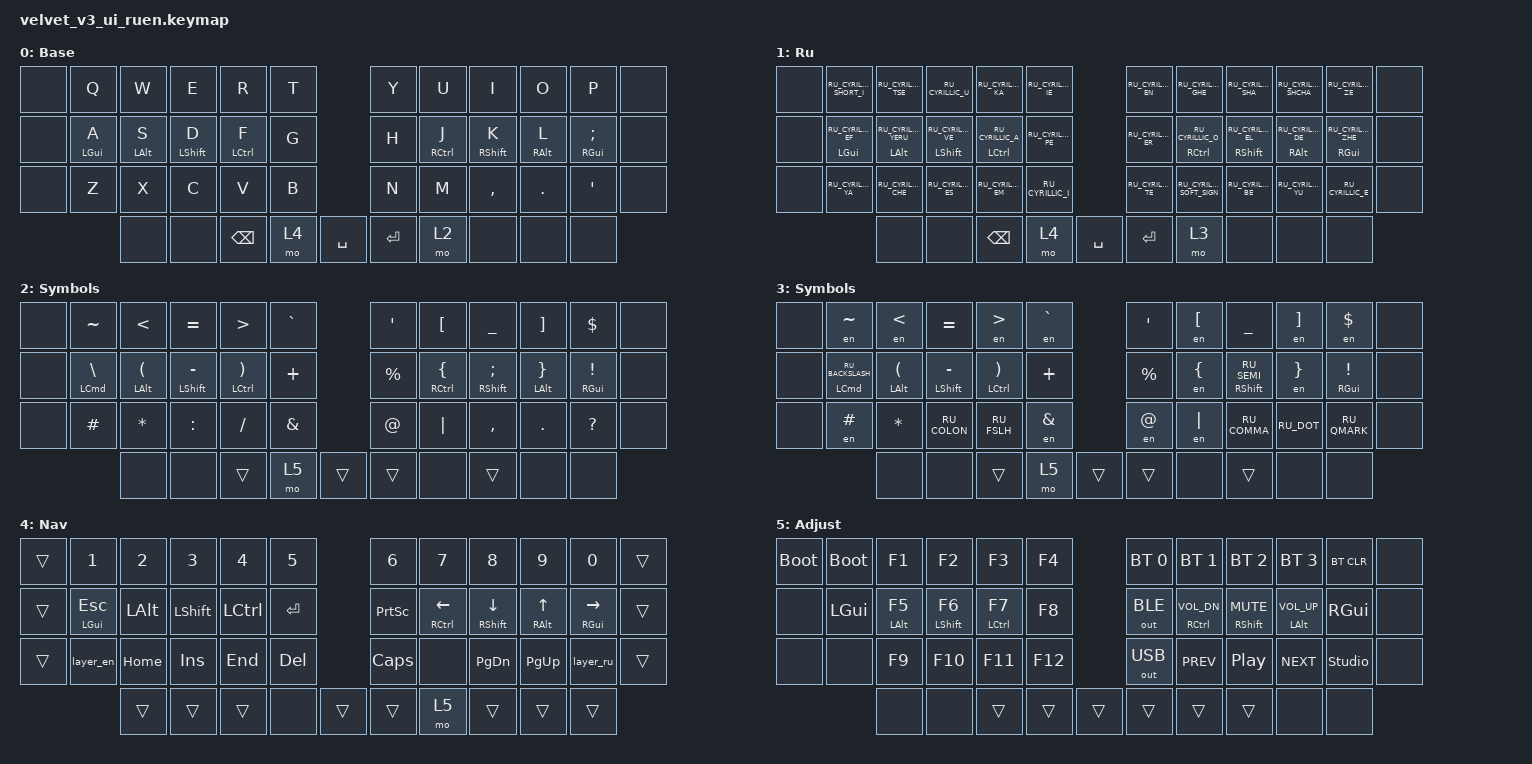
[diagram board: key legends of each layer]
#include "keys_ru.h"
#include <dt-bindings/zmk/input_transform.h>
#include <input/processors.dtsi>
#include <zephyr/dt-bindings/input/input-event-codes.h>
#include <behaviors.dtsi>
#include <dt-bindings/zmk/bt.h>
#include <dt-bindings/zmk/keys.h>
#include <dt-bindings/zmk/outputs.h>

&mt {
    quick-tap-ms = <200>;
    require-prior-idle-ms = <125>;
    flavor = "tap-preferred";
};

/ {
    behaviors {
        hml: home_row_mod_left {
            compatible = "zmk,behavior-hold-tap";
            bindings = <&kp>, <&kp>;

            #binding-cells = <2>;
            tapping-term-ms = <280>;
            quick-tap-ms = <175>;
            require-prior-idle-ms = <125>;
            flavor = "balanced";
            hold-trigger-key-positions = <6 7 8 10 9 22 20 21 18 19 30 31 32 34 33 41 42 43 44 45>;
            hold-trigger-on-release;
        };

        hmr: home_row_mod_right {
            compatible = "zmk,behavior-hold-tap";
            bindings = <&kp>, <&kp>;

            #binding-cells = <2>;
            tapping-term-ms = <280>;
            quick-tap-ms = <175>;
            require-prior-idle-ms = <150>;
            flavor = "balanced";
            hold-trigger-on-release;
            hold-trigger-key-positions = <1 13 25 36 37 26 14 2 3 15 27 28 16 4 5 17 29 38 39 40>;
        };

        zip_auto_mouse: zip_auto_mouse {
            compatible = "zmk,input-processor-temp-layer";
            #input-processor-cells = <2>;
            require-prior-idle-ms = <0>;
            excluded-positions = <>;
        };
    };

    combos {
        compatible = "zmk,combos";

        cmben {
            bindings = <&layer_en>;
            key-positions = <3 4>;
            layers = <1>;
        };

        cmbru {
            bindings = <&layer_ru>;
            key-positions = <3 4>;
            layers = <0>;
        };

        hrdsgn {
            bindings = <&kp RU_CYRILLIC_HARD_SIGN>;
            key-positions = <8 9>;
        };

        kha {
            bindings = <&kp RU_CYRILLIC_HA>;
            key-positions = <7 8>;
        };

        tab {
            bindings = <&kp TAB>;
            key-positions = <31 32>;
        };

        TABL {
            bindings = <&kp TAB>;
            key-positions = <27 28>;
        };
    };

    macros {
        to_ru: to_ru {
            compatible = "zmk,behavior-macro";
            #binding-cells = <0>;
            bindings = <&kp LS(LC(N2))>;
            label = "TO_RU";
            wait-ms = <0>;
            tap-ms = <30>;
        };

        to_en: to_en {
            compatible = "zmk,behavior-macro";
            #binding-cells = <0>;
            bindings = <&kp LS(LC(N1))>;
            label = "TO_EN";
            wait-ms = <0>;
            tap-ms = <30>;
        };

        layer_en: layer_en {
            compatible = "zmk,behavior-macro";
            #binding-cells = <0>;
            bindings = <&to 0 &to_en>;
            label = "LAYER_EN";
            wait-ms = <0>;
            tap-ms = <30>;
        };

        layer_ru: layer_ru {
            compatible = "zmk,behavior-macro";
            #binding-cells = <0>;
            bindings = <&to 1 &to_ru>;
            label = "LAYER_RU";
            tap-ms = <30>;
            wait-ms = <0>;
        };

        en: en {
            compatible = "zmk,behavior-macro-one-param";
            #binding-cells = <1>;
            bindings =
                <&to_en>,
                <&macro_press>,
                <&macro_param_1to1 &kp MACRO_PLACEHOLDER>,
                <&macro_pause_for_release>,
                <&macro_release>,
                <&macro_param_1to1 &kp MACRO_PLACEHOLDER>,
                <&macro_tap>,
                <&to_ru>;

            label = "EN";
            wait-ms = <0>;
            tap-ms = <30>;
        };
    };

    keymap {
        compatible = "zmk,keymap";

        en {
            bindings = <
&none  &kp Q        &kp W            &kp E         &kp R          &kp T                        &kp Y  &kp U         &kp I               &kp O             &kp P                &none
&none  &hml LGUI A  &hml LEFT_ALT S  &hml LSHFT D  &hml LCTRL F   &kp G                        &kp H  &hmr RCTRL J  &hmr RIGHT_SHIFT K  &hmr RIGHT_ALT L  &hmr RIGHT_GUI SEMI  &none
&none  &kp Z        &kp X            &kp C         &kp V          &kp B                        &kp N  &kp M         &kp COMMA           &kp DOT           &kp SQT              &none
                    &none            &none         &kp BACKSPACE  &mo 4  &kp SPACE    &kp RET  &mo 2  &none         &none               &none
            >;

            display-name = "Base";
        };

        ru {
            display-name = "Ru";
            bindings = <
&none  &kp RU_CYRILLIC_SHORT_I       &kp RU_CYRILLIC_TSE             &kp RU_CYRILLIC_U               &kp RU_CYRILLIC_KA        &kp RU_CYRILLIC_IE                        &kp RU_CYRILLIC_EN  &kp RU_CYRILLIC_GHE        &kp RU_CYRILLIC_SHA              &kp RU_CYRILLIC_SHCHA          &kp RU_CYRILLIC_ZE              &none
&none  &hml LEFT_GUI RU_CYRILLIC_EF  &hml LEFT_ALT RU_CYRILLIC_YERU  &hml LEFT_SHIFT RU_CYRILLIC_VE  &hml LCTRL RU_CYRILLIC_A  &kp RU_CYRILLIC_PE                        &kp RU_CYRILLIC_ER  &hmr RCTRL RU_CYRILLIC_O   &hmr RIGHT_SHIFT RU_CYRILLIC_EL  &hmr RIGHT_ALT RU_CYRILLIC_DE  &hmr RIGHT_GUI RU_CYRILLIC_ZHE  &none
&none  &kp RU_CYRILLIC_YA            &kp RU_CYRILLIC_CHE             &kp RU_CYRILLIC_ES              &kp RU_CYRILLIC_EM        &kp RU_CYRILLIC_I                         &kp RU_CYRILLIC_TE  &kp RU_CYRILLIC_SOFT_SIGN  &kp RU_CYRILLIC_BE               &kp RU_CYRILLIC_YU             &kp RU_CYRILLIC_E               &none
                                     &none                           &none                           &kp BACKSPACE             &mo 4               &kp SPACE    &kp RET  &mo 3               &none                      &none                            &none
            >;
        };

        sym_en {
            bindings = <
&none  &kp TILDE       &kp LT              &kp EQUAL         &kp GT           &kp GRAVE                    &kp APOSTROPHE  &kp LBKT         &kp UNDER              &kp RBKT            &kp DLLR        &none
&none  &hml LCMD BSLH  &hml LEFT_ALT LPAR  &hml LSHFT MINUS  &hml LCTRL RPAR  &kp PLUS                     &kp PRCNT       &hmr RCTRL LBRC  &hmr RIGHT_SHIFT SEMI  &hmr LEFT_ALT RBRC  &hmr RGUI EXCL  &none
&none  &kp HASH        &kp STAR            &kp COLON         &kp FSLH         &kp AMPS                     &kp AT          &kp PIPE         &kp COMMA              &kp DOT             &kp QMARK       &none
                       &none               &none             &trans           &mo 5      &trans    &trans  &none           &trans           &none                  &none
            >;

            display-name = "Symbols";
        };

        sym_ru {
            display-name = "Symbols";
            bindings = <
&none  &en TILDE               &en LT              &kp EQUAL         &en GT           &en GRAVE                    &kp APOSTROPHE  &en LBKT        &kp UNDER                 &en RBKT    &en DLLR        &none
&none  &hml LCMD RU_BACKSLASH  &hml LEFT_ALT LPAR  &hml LSHFT MINUS  &hml LCTRL RPAR  &kp PLUS                     &kp PRCNT       &en LEFT_BRACE  &hmr RIGHT_SHIFT RU_SEMI  &en RBRC    &hmr RGUI EXCL  &none
&none  &en HASH                &kp STAR            &kp RU_COLON      &kp RU_FSLH      &en AMPS                     &en AT          &en PIPE        &kp RU_COMMA              &kp RU_DOT  &kp RU_QMARK    &none
                               &none               &none             &trans           &mo 5      &trans    &trans  &none           &trans          &none                     &none
            >;
        };

        nav {
            bindings = <
&trans  &kp N1         &kp N2    &kp N3     &kp N4     &kp N5                     &kp N6     &kp N7           &kp N8                 &kp N9        &kp N0           &trans
&trans  &hml LGUI ESC  &kp LALT  &kp LSHFT  &kp LCTRL  &kp RET                    &kp PSCRN  &hmr RCTRL LEFT  &hmr RIGHT_SHIFT DOWN  &hmr RALT UP  &hmr RGUI RIGHT  &trans
&trans  &layer_en      &kp HOME  &kp INS    &kp END    &kp DEL                    &kp CLCK   &none            &kp PAGE_DOWN          &kp PAGE_UP   &layer_ru        &trans
                       &trans    &trans     &trans     &none    &trans    &trans  &mo 5      &trans           &trans                 &trans
            >;

            display-name = "Nav";
        };

        adj {
            bindings = <
&bootloader  &bootloader  &kp F1        &kp F2              &kp F3         &kp F4                     &bt BT_SEL 0  &bt BT_SEL 1         &bt BT_SEL 2        &bt BT_SEL 3            &bt BT_CLR      &none
&none        &kp LGUI     &hml LALT F5  &hml LEFT_SHIFT F6  &hml LCTRL F7  &kp F8                     &out OUT_BLE  &hmr RCTRL C_VOL_DN  &hmr RSHIFT C_MUTE  &hmr LEFT_ALT C_VOL_UP  &kp RGUI        &none
&none        &none        &kp F9        &kp F10             &kp F11        &kp F12                    &out OUT_USB  &kp C_PREV           &kp C_PLAY_PAUSE    &kp C_NEXT              &studio_unlock  &none
                          &none         &none               &trans         &trans   &trans    &trans  &trans        &trans               &none               &none
            >;

            display-name = "Adjust";
        };
    };
};

&trackball { cpi = <2000>; };

&trackball_listener {
    input-processors = <&zip_auto_mouse 6 500>, <&zip_xy_scaler 9 20>;

    scroller {
        layers = <7>;
        input-processors =
            <&zip_xy_transform INPUT_TRANSFORM_Y_INVERT>,
            <&zip_xy_scaler 1 32>,
            <&zip_xy_to_scroll_mapper>;
    };

    sniper {
        layers = <8>;
        input-processors = <&zip_xy_scaler 1 5>;
    };
};
